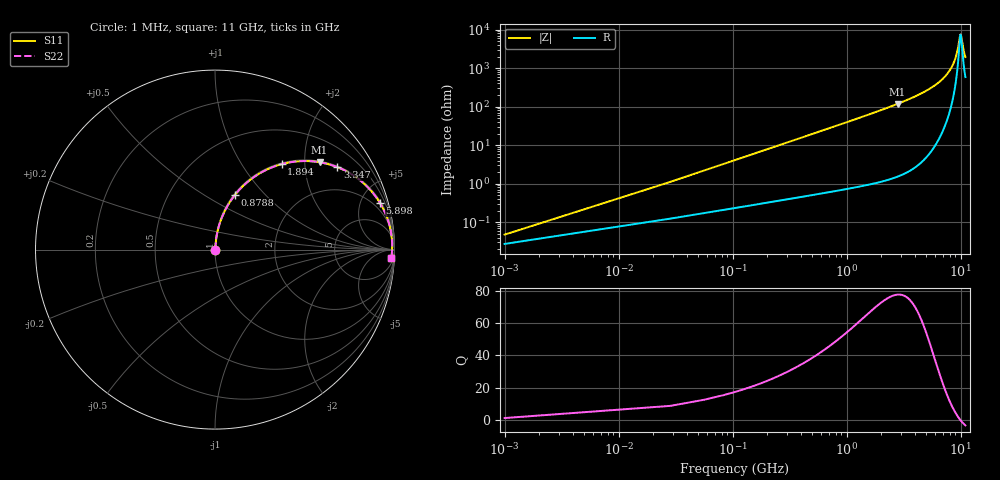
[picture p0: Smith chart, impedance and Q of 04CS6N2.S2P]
! Coilcraft 0402CS-6N2 Chip Inductor
! 29 May 2002
# MHZ S MA R 50
!Freq  MagS11  AngS11  MagS21  AngS21  MagS12  AngS12  MagS22  AngS22
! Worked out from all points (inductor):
!   402 points, 1 MHz to 11 GHz, reference 50 ohm
!   read as one part in series: L = 6.2 nH near 55.86 MHz
!   highest Q = 77.6 at 2.799 GHz (marker M1), where L = 6.73 nH
!   self-resonance near 9.993 GHz
!   S11 on the Smith chart (normalised r, x): 1 MHz: 1.00, +0.00; 878.8 MHz: 1.01, +0.69; 1.894 GHz: 1.02, +1.53; 3.347 GHz: 1.04, +2.94; 5.898 GHz: 1.18, +7.05; 11 GHz: 13, -37
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1  0.0004756 55.0  0.9997 -0.0  0.9997 -0.0  0.0004756 55.0
83.29  0.03243 84.5  0.9974 -1.9  0.9974 -1.9  0.03243 84.5
110.72  0.04306 84.4  0.9967 -2.5  0.9967 -2.5  0.04306 84.4
165.58  0.06427 83.7  0.995 -3.7  0.995 -3.7  0.06427 83.7
275.3  0.1064 81.9  0.9906 -6.1  0.9906 -6.1  0.1064 81.9
412.45  0.1583 79.3  0.9829 -9.1  0.9829 -9.1  0.1583 79.3
878.76  0.3242 70.0  0.9396 -18.9  0.9396 -18.9  0.3242 70.0
1838.81  0.5916 52.9  0.7979 -36.3  0.7979 -36.3  0.5916 52.9
1893.67  0.6037 52.1  0.7888 -37.1  0.7888 -37.1  0.6037 52.1
2798.86  0.759 39.9  0.6414 -49.4  0.6414 -49.4  0.759 39.9
3347.46  0.8217 34.0  0.5593 -55.2  0.5593 -55.2  0.8217 34.0
3676.62  0.8511 30.9  0.5136 -58.3  0.5136 -58.3  0.8511 30.9
5514.43  0.9453 17.8  0.3059 -70.9  0.3059 -70.9  0.9453 17.8
5898.45  0.9556 15.7  0.2708 -72.8  0.2708 -72.8  0.9556 15.7
7352.24  0.9791 9.0  0.1568 -77.8  0.1568 -77.8  0.9791 9.0
8449.44  0.9861 4.9  0.08588 -78.2  0.08588 -78.2  0.9861 4.9
9190.05  0.9875 2.4  0.04402 -72.3  0.04402 -72.3  0.9875 2.4
9848.37  0.9871 0.4  0.01485 -29.3  0.01485 -29.3  0.9871 0.4
9985.52  0.9868 0.0  0.01319 -1.6  0.01319 -1.6  0.9868 0.0
10122.67  0.9865 -0.4  0.01497 25.5  0.01497 25.5  0.9865 -0.4
10616.41  0.985 -1.8  0.03386 62.8  0.03386 62.8  0.985 -1.8
11000  0.9834 -2.8  0.05086 69.6  0.05086 69.6  0.9834 -2.8
